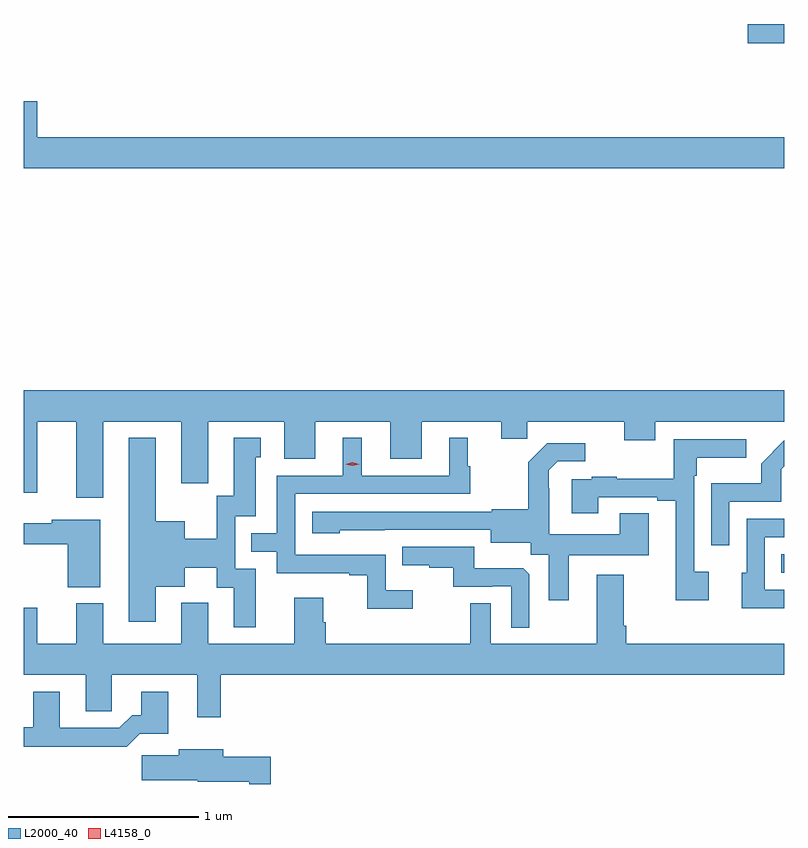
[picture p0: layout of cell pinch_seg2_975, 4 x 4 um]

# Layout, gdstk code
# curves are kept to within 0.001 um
import gdstk
lib = gdstk.Library(unit=1e-6, precision=1e-09)
def R(c, l, rs):  # rectangles x0, y0, x1, y1
    for r in rs: c.add(gdstk.rectangle(r[:2], r[2:], *l))
def P(c, l, *ps):  # polygons
    for p in ps: c.add(gdstk.Polygon(p, *l))
L2000_40 = (2000, 40)
L4158_0 = (4158, 0)

pinch_seg2_975 = lib.new_cell('pinch_seg2_975')
R(pinch_seg2_975, L2000_40, [(181.069,654.834,181.087,654.93), (180.894,657.617,181.087,657.718)])
P(pinch_seg2_975, L2000_40, [(181.087,657.124),(177.16,657.124),(177.16,657.313),(177.087,657.313),(177.087,656.96),(181.087,656.96)],
  [(177.505,655.628),(177.917,655.628),(177.917,655.305),(178.057,655.305),(178.057,655.628),(178.457,655.628),(178.457,655.434),(178.621,655.434),(178.621,655.628),(179.015,655.628),(179.015,655.434),(179.179,655.434),(179.179,655.628),(179.597,655.628),(179.597,655.538),(179.735,655.538),(179.735,655.628),(180.245,655.628),(180.245,655.529),(180.409,655.529),(180.409,655.628),(181.087,655.628),(181.087,655.792),(177.087,655.792),(177.087,655.254),(177.16,655.254),(177.16,655.628),(177.365,655.628),(177.365,655.227),(177.505,655.227)],
  [(179.134,654.742),(178.992,654.742),(178.992,654.927),(178.515,654.927),(178.515,655.248),(179.434,655.248),(179.434,655.392),(179.422,655.392),(179.422,655.543),(179.324,655.543),(179.324,655.344),(178.864,655.344),(178.864,655.543),(178.766,655.543),(178.766,655.344),(178.419,655.344),(178.419,655.041),(178.285,655.041),(178.285,654.945),(178.419,654.945),(178.419,654.831),(178.799,654.831),(178.799,654.819),(178.894,654.819),(178.894,654.644),(179.134,654.644)],
  [(178.309,654.855),(178.2,654.855),(178.2,655.131),(178.309,655.131),(178.309,655.44),(178.333,655.44),(178.333,655.543),(178.193,655.543),(178.193,655.239),(178.104,655.239),(178.104,655.012),(177.934,655.012),(177.934,655.105),(177.781,655.105),(177.781,655.543),(177.641,655.543),(177.641,654.576),(177.781,654.576),(177.781,654.761),(177.934,654.761),(177.934,654.86),(178.103,654.86),(178.103,654.754),(178.193,654.754),(178.193,654.546),(178.309,654.546)],
  [(180.688,654.838),(180.612,654.838),(180.612,655.343),(180.625,655.343),(180.625,655.439),(180.886,655.439),(180.886,655.536),(180.504,655.536),(180.504,655.328),(180.205,655.328),(180.205,655.339),(180.073,655.339),(180.073,655.326),(179.969,655.326),(179.969,655.146),(180.109,655.146),(180.109,655.23),(180.419,655.23),(180.419,655.212),(180.515,655.212),(180.515,654.69),(180.688,654.69)],
  [(180.798,655.206),(181.071,655.206),(181.071,655.377),(181.087,655.393),(181.087,655.529),(180.964,655.406),(180.964,655.303),(180.702,655.303),(180.702,654.978),(180.798,654.978)],
  [(179.953,654.926),(180.373,654.926),(180.373,655.145),(180.221,655.145),(180.221,655.036),(179.85,655.036),(179.85,655.277),(179.848,655.277),(179.848,655.372),(179.895,655.419),(180.04,655.419),(180.04,655.513),(179.839,655.513),(179.739,655.413),(179.739,655.168),(179.547,655.168),(179.547,655.155),(178.605,655.155),(178.605,655.04),(178.749,655.04),(178.749,655.058),(179.543,655.059),(179.543,654.992),(179.754,654.992),(179.754,654.928),(179.849,654.928),(179.849,654.69),(179.953,654.69)],
  [(181.081,654.648),(181.087,654.648),(181.087,654.744),(180.984,654.744),(180.984,655.02),(181.087,655.02),(181.087,655.116),(180.888,655.116),(180.888,654.834),(180.863,654.834),(180.863,654.647),(181.081,654.647)],
  [(177.49,655.112),(177.236,655.112),(177.236,655.093),(177.087,655.093),(177.087,654.984),(177.32,654.984),(177.32,654.758),(177.49,654.758)],
  [(179.745,654.825),(179.713,654.857),(179.455,654.857),(179.455,654.969),(179.077,654.969),(179.077,654.872),(179.221,654.872),(179.221,654.861),(179.345,654.861),(179.345,654.759),(179.552,654.759),(179.552,654.762),(179.652,654.762),(179.652,654.545),(179.745,654.545)],
  [(178.123,654.296),(181.087,654.296),(181.087,654.46),(180.254,654.46),(180.254,654.556),(180.241,654.556),(180.241,654.823),(180.101,654.823),(180.101,654.46),(179.544,654.46),(179.544,654.674),(179.436,654.674),(179.436,654.46),(178.676,654.46),(178.676,654.573),(178.663,654.573),(178.663,654.703),(178.511,654.703),(178.511,654.46),(178.057,654.46),(178.057,654.676),(177.917,654.676),(177.917,654.46),(177.505,654.46),(177.505,654.673),(177.365,654.673),(177.365,654.46),(177.16,654.46),(177.16,654.649),(177.087,654.649),(177.087,654.296),(177.413,654.296),(177.413,654.106),(177.552,654.106),(177.552,654.296),(178.001,654.296),(178.001,654.075),(178.123,654.075)],
  [(177.698,653.987),(177.847,653.987),(177.847,654.208),(177.707,654.208),(177.707,654.085),(177.658,654.085),(177.591,654.018),(177.277,654.018),(177.277,654.208),(177.137,654.208),(177.137,654.021),(177.087,654.021),(177.087,653.92),(177.373,653.92),(177.373,653.918),(177.629,653.918)],
  [(178.387,653.865),(178.138,653.865),(178.138,653.905),(177.902,653.905),(177.902,653.873),(177.708,653.873),(177.708,653.744),(178.002,653.744),(178.002,653.735),(178.274,653.735),(178.274,653.723),(178.387,653.723)])
P(pinch_seg2_975, L4158_0, [(178.815,655.395),(178.78,655.405),(178.779,655.405),(178.78,655.405),(178.815,655.415),(178.851,655.405),(178.851,655.405),(178.851,655.405)])

lib.write_gds('pinch_seg2_975.gds')
